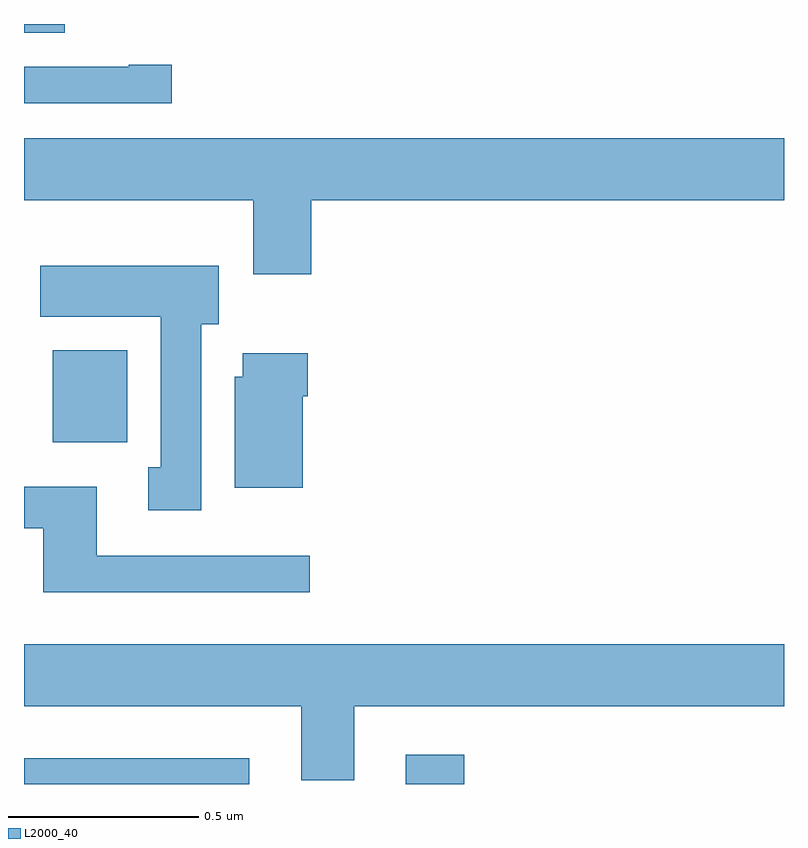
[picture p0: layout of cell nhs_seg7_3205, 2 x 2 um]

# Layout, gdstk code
import gdstk
lib = gdstk.Library(unit=1e-6, precision=1e-09)
def R(c, l, rs):  # rectangles x0, y0, x1, y1
    for r in rs: c.add(gdstk.rectangle(r[:2], r[2:], *l))
def P(c, l, *ps):  # polygons
    for p in ps: c.add(gdstk.Polygon(p, *l))
L2000_40 = (2000, 40)

nhs_seg7_3205 = lib.new_cell('nhs_seg7_3205')
R(nhs_seg7_3205, L2000_40, [(155,1079,155.593,1079.068), (156.005,1079,156.158,1079.077), (155.075,1079.9,155.272,1080.142), (155,1080.977,155.107,1081)])
P(nhs_seg7_3205, L2000_40, [(155.389,1080.893),(155.276,1080.893),(155.276,1080.888),(155,1080.888),(155,1080.792),(155.389,1080.792)],
  [(155.756,1080.536),(157,1080.536),(157,1080.7),(155,1080.7),(155,1080.536),(155.603,1080.536),(155.603,1080.342),(155.756,1080.342)],
  [(155.467,1080.21),(155.512,1080.21),(155.512,1080.364),(155.043,1080.364),(155.043,1080.23),(155.36,1080.23),(155.36,1079.834),(155.327,1079.834),(155.327,1079.721),(155.467,1079.721)],
  [(155.734,1080.02),(155.747,1080.02),(155.747,1080.133),(155.576,1080.133),(155.576,1080.072),(155.555,1080.072),(155.555,1079.78),(155.734,1079.78)],
  [(155.752,1079.601),(155.191,1079.601),(155.191,1079.782),(155,1079.782),(155,1079.673),(155.051,1079.673),(155.051,1079.504),(155.752,1079.504)],
  [(155.869,1079.204),(157,1079.204),(157,1079.368),(155,1079.368),(155,1079.204),(155.729,1079.204),(155.729,1079.01),(155.869,1079.01)])

lib.write_gds('nhs_seg7_3205.gds')
